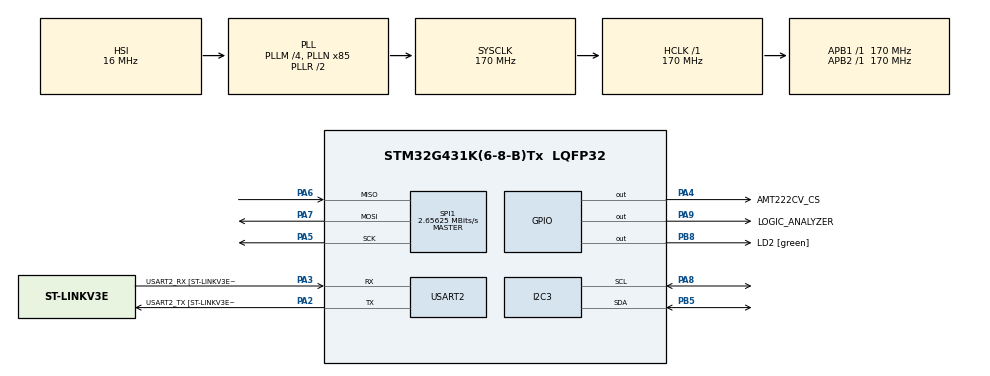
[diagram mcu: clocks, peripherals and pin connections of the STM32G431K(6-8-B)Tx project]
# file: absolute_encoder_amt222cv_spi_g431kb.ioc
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I2C3.Timing=0x40B285C2
Mcu.Family=STM32G4
Mcu.Name=STM32G431K(6-8-B)Tx
Mcu.Package=LQFP32
NVIC.PriorityGroup=NVIC_PRIORITYGROUP_4
NVIC.SPI1_IRQn=true\:0\:0\:false\:false\:true\:true\:true\:true
NVIC.TIM8_UP_IRQn=true\:0\:0\:false\:false\:true\:true\:true\:true
PA13.GPIO_Label=T_SWDIO
PA13.Mode=Serial_Wire
PA13.Signal=SYS_JTMS-SWDIO
PA14.GPIO_Label=T_SWCLK
PA14.Mode=Serial_Wire
PA14.Signal=SYS_JTCK-SWCLK
PA2.GPIO_Label=USART2_TX [ST-LINKV3E_VCP_RX]
PA2.Mode=Asynchronous
PA2.Signal=USART2_TX
PA3.GPIO_Label=USART2_RX [ST-LINKV3E_VCP_TX]
PA3.Mode=Asynchronous
PA3.Signal=USART2_RX
PA4.GPIO_Label=AMT222CV_CS
PA4.PinState=GPIO_PIN_SET
PA4.Signal=GPIO_Output
PA5.Mode=Full_Duplex_Master
PA5.Signal=SPI1_SCK
PA6.Mode=Full_Duplex_Master
PA6.Signal=SPI1_MISO
PA7.Mode=Full_Duplex_Master
PA7.Signal=SPI1_MOSI
PA8.Mode=I2C
PA8.Signal=I2C3_SCL
PA9.GPIO_Label=LOGIC_ANALYZER
PA9.Signal=GPIO_Output
PB3.GPIO_Label=T_SWO
PB3.Signal=SYS_JTDO-SWO
PB5.Mode=I2C
PB5.Signal=I2C3_SDA
PB8-BOOT0.GPIO_Label=LD2 [green]
PB8-BOOT0.Signal=GPIO_Output
ProjectManager.HeapSize=0x200
ProjectManager.StackSize=0x400
ProjectManager.TargetToolchain=STM32CubeIDE
RCC.ADC12Freq_Value=170000000
RCC.AHBFreq_Value=170000000
RCC.APB1Freq_Value=170000000
RCC.APB1TimFreq_Value=170000000
RCC.APB2Freq_Value=170000000
RCC.APB2TimFreq_Value=170000000
RCC.CortexFreq_Value=170000000
RCC.EXTERNAL_CLOCK_VALUE=12288000
RCC.HCLKFreq_Value=170000000
RCC.HSE_VALUE=8000000
RCC.HSI48_VALUE=48000000
RCC.HSI_VALUE=16000000
RCC.LSE_VALUE=32768
RCC.PLLM=RCC_PLLM_DIV4
RCC.PLLN=85
RCC.SYSCLKFreq_VALUE=170000000
RCC.SYSCLKSource=RCC_SYSCLKSOURCE_PLLCLK
RCC.USBFreq_Value=170000000
RCC.VCOOutputFreq_Value=340000000
SPI1.BaudRatePrescaler=SPI_BAUDRATEPRESCALER_64
SPI1.CalculateBaudRate=2.65625 MBits/s
SPI1.DataSize=SPI_DATASIZE_8BIT
SPI1.Direction=SPI_DIRECTION_2LINES
SPI1.Mode=SPI_MODE_MASTER
SPI1.VirtualType=VM_MASTER
TIM4.Prescaler=0
TIM8.AutoReloadPreload=TIM_AUTORELOAD_PRELOAD_DISABLE
TIM8.PeriodNoDither=65535
TIM8.Prescaler=0
USART2.VirtualMode-Asynchronous=VM_ASYNC
USART2.WordLength=WORDLENGTH_8B
VP_SYS_VS_DBSignals.Mode=DisableDeadBatterySignals
VP_TIM1_VS_ClockSourceINT.Mode=Internal
VP_TIM4_VS_ClockSourceINT.Mode=Internal
VP_TIM8_VS_ClockSourceINT.Mode=Internal
board=NUCLEO-G431KB

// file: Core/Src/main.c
/* USER CODE BEGIN Header */
/**
 ******************************************************************************
 * @file           : main.c
 * @brief          : Main program body
 ******************************************************************************
 * @attention
 *
 * Copyright (c) 2025 STMicroelectronics.
 * All rights reserved.
 *
 * This software is licensed under terms that can be found in the LICENSE file
 * in the root directory of this software component.
 * If no LICENSE file comes with this software, it is provided AS-IS.
 *
 ******************************************************************************
 */
/* USER CODE END Header */
#include "main.h"
#include "i2c.h"
#include "spi.h"
#include "tim.h"
#include "usart.h"
#include "gpio.h"

/* USER CODE BEGIN Includes */
#include <stdio.h>
#include "amt22_multi_turn.h"
#include "ssd1306.h"
/* USER CODE END Includes */

/* USER CODE BEGIN PD */
#define OLED_REFRESH_PERIOD 100
#define AMT22_RESOLUTION 12
/* USER CODE END PD */

/* USER CODE BEGIN PV */
uint32_t OledSoftTimer;
char lcd_line[32];
HAL_StatusTypeDef spi_status;
uint8_t amt22_position_data[2];
uint8_t amt22_turns_data[2];
uint16_t amt22_position;
int16_t amt22_turns;
/* USER CODE END PV */

void SystemClock_Config(void);

int main(void)
{

	/* MCU Configuration--------------------------------------------------------*/

	/* Reset of all peripherals, Initializes the Flash interface and the Systick. */
	HAL_Init();

	/* Configure the system clock */
	SystemClock_Config();

	/* Initialize all configured peripherals */
	MX_GPIO_Init();
	MX_USART2_UART_Init();
	MX_I2C3_Init();
	MX_SPI1_Init();
	MX_TIM4_Init();
	MX_TIM1_Init();
	MX_TIM8_Init();
	/* USER CODE BEGIN 2 */
	ssd1306_Init();

	ssd1306_Fill(Black);
	ssd1306_SetCursor(20, 0);
	ssd1306_WriteString("ufnalski.edu.pl", Font_6x8, White);
	ssd1306_SetCursor(20, 12);
	ssd1306_WriteString("Encoder AMT22xC", Font_6x8, White);
	ssd1306_SetCursor(13, 22);
	ssd1306_WriteString("[SPI, multi-turn]", Font_6x8, White);
	ssd1306_UpdateScreen();

	OledSoftTimer = HAL_GetTick();
	/* USER CODE END 2 */

	/* Infinite loop */
	/* USER CODE BEGIN WHILE */
	while (1)
	{
		if (HAL_GetTick() - OledSoftTimer > OLED_REFRESH_PERIOD)
		{
			OledSoftTimer = HAL_GetTick();
			spi_status = GetAmtPositionAndTurnsRawData(amt22_position_data,
					amt22_turns_data);
			if (spi_status == HAL_OK)
			{
				ssd1306_SetCursor(5, 35);
				ssd1306_WriteString("SPI status: OK    ", Font_6x8, White);
				ssd1306_SetCursor(5, 45);
				if (GetAmtPosition(amt22_position_data, &amt22_position,
				AMT22_RESOLUTION) == AMT22_CHECKSUM_OK)
				{
					sprintf(lcd_line, "Position:   %d    ", amt22_position);
					ssd1306_WriteString(lcd_line, Font_6x8, White);
				}
				else
				{
					ssd1306_WriteString("Position:   ERROR    ", Font_6x8,
							White);
				}
				ssd1306_SetCursor(5, 55);
				if (GetAmtTurns(amt22_turns_data, &amt22_turns)
						== AMT22_CHECKSUM_OK)
				{
					sprintf(lcd_line, "Turns:      %d    ", amt22_turns);
					ssd1306_WriteString(lcd_line, Font_6x8, White);
				}
				else
				{
					ssd1306_WriteString("Turns:      ERROR    ", Font_6x8,
							White);
				}
				ssd1306_UpdateScreen();
			}
			else
			{
				ssd1306_SetCursor(5, 30);
				ssd1306_WriteString("SPI status: ERROR", Font_6x8, White);
				ssd1306_UpdateScreen();
			}
		}
		/* USER CODE END WHILE */

	}
}

void SystemClock_Config(void)
{
	RCC_OscInitTypeDef RCC_OscInitStruct =
	{ 0 };
	RCC_ClkInitTypeDef RCC_ClkInitStruct =
	{ 0 };

	/** Configure the main internal regulator output voltage
	 */
	HAL_PWREx_ControlVoltageScaling(PWR_REGULATOR_VOLTAGE_SCALE1_BOOST);

	/** Initializes the RCC Oscillators according to the specified parameters
	 * in the RCC_OscInitTypeDef structure.
	 */
	RCC_OscInitStruct.OscillatorType = RCC_OSCILLATORTYPE_HSI;
	RCC_OscInitStruct.HSIState = RCC_HSI_ON;
	RCC_OscInitStruct.HSICalibrationValue = RCC_HSICALIBRATION_DEFAULT;
	RCC_OscInitStruct.PLL.PLLState = RCC_PLL_ON;
	RCC_OscInitStruct.PLL.PLLSource = RCC_PLLSOURCE_HSI;
	RCC_OscInitStruct.PLL.PLLM = RCC_PLLM_DIV4;
	RCC_OscInitStruct.PLL.PLLN = 85;
	RCC_OscInitStruct.PLL.PLLP = RCC_PLLP_DIV2;
	RCC_OscInitStruct.PLL.PLLQ = RCC_PLLQ_DIV2;
	RCC_OscInitStruct.PLL.PLLR = RCC_PLLR_DIV2;
	if (HAL_RCC_OscConfig(&RCC_OscInitStruct) != HAL_OK)
	{
		Error_Handler();
	}

	/** Initializes the CPU, AHB and APB buses clocks
	 */
	RCC_ClkInitStruct.ClockType = RCC_CLOCKTYPE_HCLK | RCC_CLOCKTYPE_SYSCLK
			| RCC_CLOCKTYPE_PCLK1 | RCC_CLOCKTYPE_PCLK2;
	RCC_ClkInitStruct.SYSCLKSource = RCC_SYSCLKSOURCE_PLLCLK;
	RCC_ClkInitStruct.AHBCLKDivider = RCC_SYSCLK_DIV1;
	RCC_ClkInitStruct.APB1CLKDivider = RCC_HCLK_DIV1;
	RCC_ClkInitStruct.APB2CLKDivider = RCC_HCLK_DIV1;

	if (HAL_RCC_ClockConfig(&RCC_ClkInitStruct, FLASH_LATENCY_4) != HAL_OK)
	{
		Error_Handler();
	}
}

void Error_Handler(void)
{
	__disable_irq();
	while (1)
	{
	}
}
